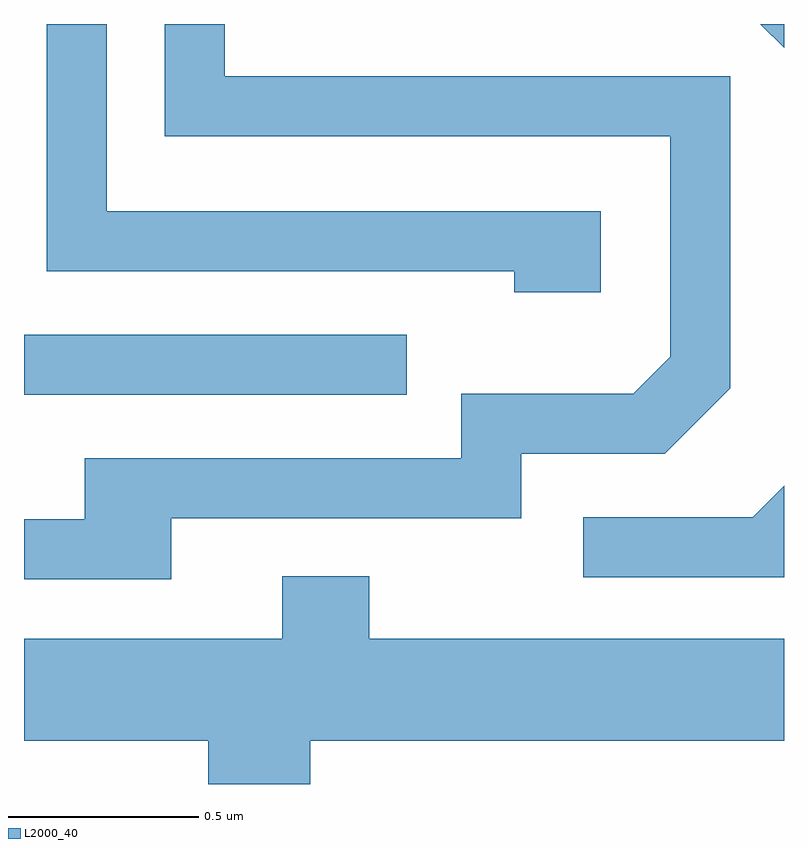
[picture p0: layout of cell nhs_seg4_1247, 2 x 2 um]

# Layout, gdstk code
import gdstk
lib = gdstk.Library(unit=1e-6, precision=1e-09)
def R(c, l, rs):  # rectangles x0, y0, x1, y1
    for r in rs: c.add(gdstk.rectangle(r[:2], r[2:], *l))
def P(c, l, *ps):  # polygons
    for p in ps: c.add(gdstk.Polygon(p, *l))
L2000_40 = (2000, 40)

nhs_seg4_1247 = lib.new_cell('nhs_seg4_1247')
R(nhs_seg4_1247, L2000_40, [(194.611,1269.006,195.618,1269.164)])
P(nhs_seg4_1247, L2000_40, [(196.129,1269.489),(194.829,1269.489),(194.829,1269.982),(194.671,1269.982),(194.671,1269.331),(195.901,1269.331),(195.901,1269.276),(196.129,1269.276)],
  [(196.611,1269.982),(196.548,1269.982),(196.611,1269.919)],
  [(194.999,1268.681),(195.919,1268.681),(195.919,1268.851),(196.297,1268.851),(196.469,1269.024),(196.469,1269.844),(195.139,1269.844),(195.139,1269.982),(194.981,1269.982),(194.981,1269.686),(196.311,1269.686),(196.311,1269.107),(196.214,1269.009),(195.761,1269.009),(195.761,1268.839),(194.771,1268.839),(194.771,1268.679),(194.611,1268.679),(194.611,1268.521),(194.999,1268.521)],
  [(196.611,1268.767),(196.529,1268.684),(196.083,1268.684),(196.083,1268.526),(196.611,1268.526)],
  [(195.364,1268.096),(196.611,1268.096),(196.611,1268.364),(195.519,1268.364),(195.519,1268.529),(195.291,1268.529),(195.291,1268.364),(194.611,1268.364),(194.611,1268.096),(195.096,1268.096),(195.096,1267.982),(195.364,1267.982)])

lib.write_gds('nhs_seg4_1247.gds')
